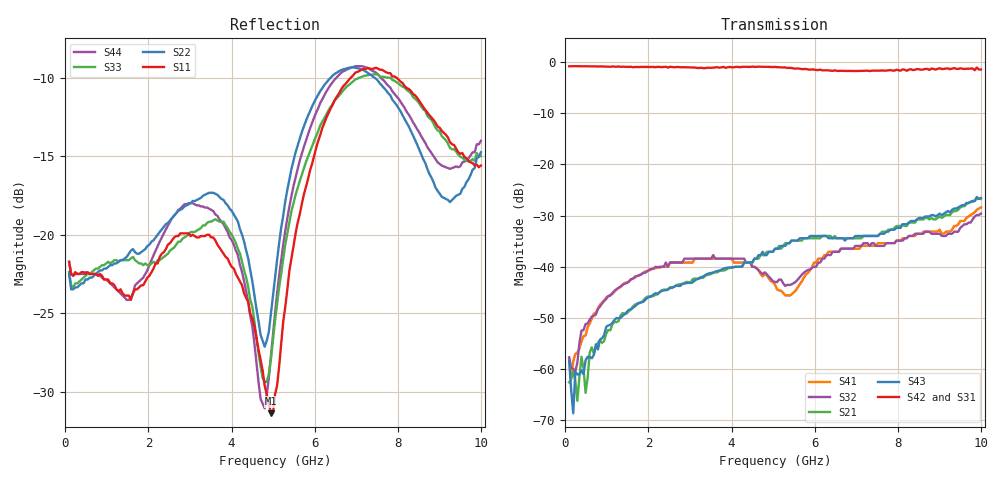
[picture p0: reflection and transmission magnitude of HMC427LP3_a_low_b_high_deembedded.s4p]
!Hittite Microwave Corporation
!12 Elizabeth Drive
!Chelmsford, MA 01824
!Tel: 978-250-3343
!Fax: 978-250-3373
!Device: HMC427LP3, DC - 8 GHz GaAs MMIC Positive Control Transfer Switch in Leadless LP3 SMT Package
!Misc: Port 1 = RF1, Port 2 = RF2, Port 3 = RF3, Port 4 = RF4, Vctl=+5V, CtlA=Low, CtlB=High, Room
# MHZ S MA R 50
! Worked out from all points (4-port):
!   201 points, 90 MHz to 10 GHz, reference 50 ohm
!   strongest paths, dB at 90 MHz, 2.567 GHz, 5.045 GHz, 7.522 GHz, 10 GHz:
!     S42: -0.8, -1.0, -1.0, -1.7, -1.5
!     S31: -0.9, -1.0, -0.9, -1.7, -1.6
!     S43: -58.3, -44.1, -36.5, -34.0, -26.6
!     S21: -62.6, -44.0, -36.5, -34.0, -26.7
!     S32: -57.7, -39.2, -42.9, -35.9, -29.6
!     S41: -57.9, -39.2, -43.5, -35.4, -28.4
!   lowest |S11| = -31.4 dB at 4.946 GHz (marker M1), VSWR 1.06, Z = 52 + j1.93 ohm
!   |S11| at or under -10 dB: start of sweep to 6.871 GHz; 7.965 GHz to end of sweep
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90  0.082 -16.1  0.0006985 -65.5  0.909 0.4  0.0008782 47.0
    0.0007444 -160.2  0.075 -19.0  0.0003634 65.0  0.911 0.4
    0.906 0.6  0.001306 60.6  0.076 -16.7  0.0008674 -1.7
    0.001277 59.2  0.907 0.8  0.001211 -73.7  0.082 -16.5
189.1  0.074 -10.1  0.0002009 -54.0  0.906 -0.9  0.001508 76.9
       0.0009426 -75.7  0.067 -10.0  0.0009674 69.0  0.906 -0.8
       0.911 -1.2  0.001004 80.4  0.068 -8.1  0.000398 -102.8
       0.001193 81.1  0.91 -1.2  0.0003706 -88.9  0.074 -10.0
535.95  0.076 -32.3  0.001346 -94.1  0.906 -1.6  0.002674 85.2
        0.0008223 -66.1  0.072 -30.6  0.002505 86.7  0.907 -1.5
        0.906 -1.5  0.002788 80.2  0.075 -28.5  0.001253 -77.8
        0.002573 80.9  0.907 -1.5  0.001321 -92.6  0.075 -33.5
1526.95  0.064 -50.1  0.003806 -93.5  0.896 -3.6  0.007372 88.0
         0.003684 -94.9  0.087 -46.2  0.007395 88.4  0.895 -3.4
         0.898 -3.3  0.007139 86.8  0.083 -55.6  0.003854 -96.1
         0.007172 88.8  0.895 -3.0  0.003798 -96.4  0.062 -44.5
4945.9  0.027 43.4  0.014 -104.5  0.892 -8.5  0.007401 93.9
        0.014 -104.9  0.056 80.2  0.007584 97.6  0.896 -8.1
        0.891 -8.6  0.007636 97.9  0.04 67.5  0.014 -104.2
        0.007236 92.8  0.893 -8.2  0.014 -104.5  0.041 88.6
6680.15  0.296 92.1  0.019 -126.1  0.835 -11.8  0.015 163.9
         0.019 -125.0  0.336 91.0  0.015 157.8  0.82 -10.5
         0.835 -11.8  0.015 157.7  0.287 91.8  0.019 -125.7
         0.015 163.2  0.818 -10.4  0.019 -125.8  0.331 94.2
10000  0.166 5.4  0.047 -126.9  0.849 -24.6  0.038 -150.5
       0.046 -126.3  0.183 -34.0  0.034 -159.5  0.857 -25.6
       0.836 -23.5  0.033 -158.5  0.178 -27.2  0.048 -130.9
       0.038 -149.4  0.844 -23.6  0.047 -128.7  0.199 0.5
